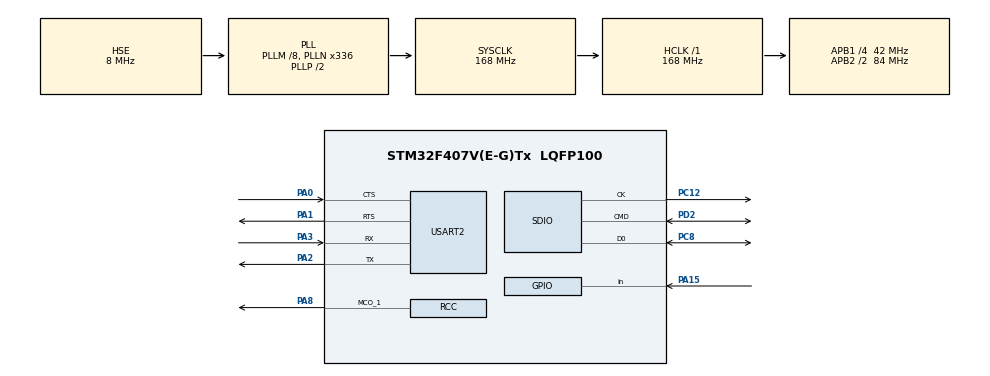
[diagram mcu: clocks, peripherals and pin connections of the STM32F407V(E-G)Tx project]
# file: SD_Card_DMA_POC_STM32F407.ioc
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Dma.Request0=SDIO
Dma.SDIO.0.Direction=DMA_PERIPH_TO_MEMORY
Dma.SDIO.0.FIFOMode=DMA_FIFOMODE_ENABLE
Dma.SDIO.0.FIFOThreshold=DMA_FIFO_THRESHOLD_FULL
Dma.SDIO.0.Instance=DMA2_Stream3
Dma.SDIO.0.MemBurst=DMA_MBURST_INC4
Dma.SDIO.0.MemDataAlignment=DMA_MDATAALIGN_WORD
Dma.SDIO.0.MemInc=DMA_MINC_ENABLE
Dma.SDIO.0.Mode=DMA_PFCTRL
Dma.SDIO.0.PeriphBurst=DMA_PBURST_INC4
Dma.SDIO.0.PeriphDataAlignment=DMA_PDATAALIGN_WORD
Dma.SDIO.0.PeriphInc=DMA_PINC_DISABLE
Dma.SDIO.0.Priority=DMA_PRIORITY_LOW
FATFS.BSP.number=1
FATFS.USE_DMA_CODE_SD=1
FATFS._FS_EXFAT=1
FATFS._FS_LOCK=6
FATFS._MAX_SS=512
FATFS._MIN_SS=512
FATFS._USE_CHMOD=1
FATFS._USE_EXPAND=1
FATFS._USE_FIND=1
FATFS._USE_FORWARD=1
FATFS._USE_LABEL=1
FATFS._USE_LFN=3
FATFS0.BSP.STBoard=false
FATFS0.BSP.api=Unknown
FATFS0.BSP.instance=PA15
FATFS0.BSP.ip=GPIO
FATFS0.BSP.mode=Input
FATFS0.BSP.name=Detect_SDIO
FATFS0.BSP.solution=PA15
Mcu.Family=STM32F4
Mcu.Name=STM32F407V(E-G)Tx
Mcu.Package=LQFP100
NVIC.DMA2_Stream3_IRQn=true\:0\:0\:false\:false\:true\:false\:true\:true
NVIC.HASH_RNG_IRQn=true\:0\:0\:false\:false\:true\:true\:true\:true
NVIC.PriorityGroup=NVIC_PRIORITYGROUP_0
NVIC.SDIO_IRQn=true\:0\:0\:false\:false\:true\:true\:true\:true
PA0-WKUP.Mode=CTS_RTS
PA0-WKUP.Signal=USART2_CTS
PA1.Mode=CTS_RTS
PA1.Signal=USART2_RTS
PA15.GPIO_PuPd=GPIO_PULLDOWN
PA15.Signal=GPIO_Input
PA2.Mode=Asynchronous
PA2.Signal=USART2_TX
PA3.Mode=Asynchronous
PA3.Signal=USART2_RX
PA8.Mode=Clock-out-1
PA8.Signal=RCC_MCO_1
PC12.Mode=SD_1_bit
PC12.Signal=SDIO_CK
PC8.GPIO_PuPd=GPIO_NOPULL
PC8.Mode=SD_1_bit
PC8.Signal=SDIO_D0
PD2.GPIO_PuPd=GPIO_NOPULL
PD2.Mode=SD_1_bit
PD2.Signal=SDIO_CMD
PH0-OSC_IN.Mode=HSE-External-Oscillator
PH0-OSC_IN.Signal=RCC_OSC_IN
PH1-OSC_OUT.Mode=HSE-External-Oscillator
PH1-OSC_OUT.Signal=RCC_OSC_OUT
ProjectManager.HeapSize=0x200
ProjectManager.StackSize=0x400
ProjectManager.TargetToolchain=STM32CubeIDE
RCC.48MHZClocksFreq_Value=48000000
RCC.AHBFreq_Value=168000000
RCC.APB1CLKDivider=RCC_HCLK_DIV4
RCC.APB1Freq_Value=42000000
RCC.APB1TimFreq_Value=84000000
RCC.APB2CLKDivider=RCC_HCLK_DIV2
RCC.APB2Freq_Value=84000000
RCC.APB2TimFreq_Value=168000000
RCC.CortexFreq_Value=168000000
RCC.HCLKFreq_Value=168000000
RCC.HSE_VALUE=8000000
RCC.HSI_VALUE=16000000
RCC.LSE_VALUE=32768
RCC.PLLM=8
RCC.PLLN=336
RCC.PLLQ=7
RCC.PLLSourceVirtual=RCC_PLLSOURCE_HSE
RCC.SYSCLKFreq_VALUE=168000000
RCC.SYSCLKSource=RCC_SYSCLKSOURCE_PLLCLK
RCC.VCOOutputFreq_Value=336000000
SDIO.ClockBypass=SDIO_CLOCK_BYPASS_DISABLE
SDIO.ClockDiv=0
SDIO.HardwareFlowControl=SDIO_HARDWARE_FLOW_CONTROL_DISABLE
USART2.VirtualMode=VM_ASYNC
VP_CRC_VS_CRC.Mode=CRC_Activate
VP_FATFS_VS_SDIO.Mode=SDIO
VP_RNG_VS_RNG.Mode=RNG_Activate
board=STM32F407G-DISC1

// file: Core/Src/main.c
/* USER CODE BEGIN Header */
/**
  ******************************************************************************
  * @file           : main.c
  * @brief          : Main program body
  ******************************************************************************
  * @attention
  *
  * Copyright (c) 2025 STMicroelectronics.
  * All rights reserved.
  *
  * This software is licensed under terms that can be found in the LICENSE file
  * in the root directory of this software component.
  * If no LICENSE file comes with this software, it is provided AS-IS.
  *
  ******************************************************************************
  */
/* USER CODE END Header */
#include "main.h"
#include "fatfs.h"

/* USER CODE BEGIN Includes */
#include <stdio.h>
#include "sd_functions.h"
#include "sd_benchmark.h"
/* USER CODE END Includes */

CRC_HandleTypeDef hcrc;

RNG_HandleTypeDef hrng;

SD_HandleTypeDef hsd;
DMA_HandleTypeDef hdma_sdio;

UART_HandleTypeDef huart2;

void SystemClock_Config(void);
static void MX_GPIO_Init(void);
static void MX_DMA_Init(void);
static void MX_CRC_Init(void);
static void MX_RNG_Init(void);
static void MX_SDIO_SD_Init(void);
static void MX_USART2_UART_Init(void);
/* USER CODE BEGIN PFP */

/*
 *	Function that print data via UART
 */
int _write(int fd, unsigned char *buf, int len) {
  if (fd == 1 || fd == 2) {
    HAL_UART_Transmit(&huart2, buf, len, 999);  // Print to the UART
  }
  return len;
}

/* USER CODE END PFP */

int main(void)
{

  /* MCU Configuration--------------------------------------------------------*/

  /* Reset of all peripherals, Initializes the Flash interface and the Systick. */
  HAL_Init();

  /* Configure the system clock */
  SystemClock_Config();

  /* Initialize all configured peripherals */
  MX_GPIO_Init();
  MX_DMA_Init();
  MX_CRC_Init();
  MX_RNG_Init();
  MX_SDIO_SD_Init();
  MX_FATFS_Init();
  MX_USART2_UART_Init();
  /* USER CODE BEGIN 2 */

  /* !ONLY test speed for read / write. for some project use sd_function */
  sd_benchmark();

  /* USER CODE END 2 */

  /* Infinite loop */
  while (1)
  {

  }
}

void SystemClock_Config(void)
{
  RCC_OscInitTypeDef RCC_OscInitStruct = {0};
  RCC_ClkInitTypeDef RCC_ClkInitStruct = {0};

  /** Configure the main internal regulator output voltage
  */
  __HAL_RCC_PWR_CLK_ENABLE();
  __HAL_PWR_VOLTAGESCALING_CONFIG(PWR_REGULATOR_VOLTAGE_SCALE1);

  /** Initializes the RCC Oscillators according to the specified parameters
  * in the RCC_OscInitTypeDef structure.
  */
  RCC_OscInitStruct.OscillatorType = RCC_OSCILLATORTYPE_HSI|RCC_OSCILLATORTYPE_HSE;
  RCC_OscInitStruct.HSEState = RCC_HSE_ON;
  RCC_OscInitStruct.HSIState = RCC_HSI_ON;
  RCC_OscInitStruct.HSICalibrationValue = RCC_HSICALIBRATION_DEFAULT;
  RCC_OscInitStruct.PLL.PLLState = RCC_PLL_ON;
  RCC_OscInitStruct.PLL.PLLSource = RCC_PLLSOURCE_HSE;
  RCC_OscInitStruct.PLL.PLLM = 8;
  RCC_OscInitStruct.PLL.PLLN = 336;
  RCC_OscInitStruct.PLL.PLLP = RCC_PLLP_DIV2;
  RCC_OscInitStruct.PLL.PLLQ = 7;
  if (HAL_RCC_OscConfig(&RCC_OscInitStruct) != HAL_OK)
  {
    Error_Handler();
  }

  /** Initializes the CPU, AHB and APB buses clocks
  */
  RCC_ClkInitStruct.ClockType = RCC_CLOCKTYPE_HCLK|RCC_CLOCKTYPE_SYSCLK
                              |RCC_CLOCKTYPE_PCLK1|RCC_CLOCKTYPE_PCLK2;
  RCC_ClkInitStruct.SYSCLKSource = RCC_SYSCLKSOURCE_PLLCLK;
  RCC_ClkInitStruct.AHBCLKDivider = RCC_SYSCLK_DIV1;
  RCC_ClkInitStruct.APB1CLKDivider = RCC_HCLK_DIV4;
  RCC_ClkInitStruct.APB2CLKDivider = RCC_HCLK_DIV2;

  if (HAL_RCC_ClockConfig(&RCC_ClkInitStruct, FLASH_LATENCY_5) != HAL_OK)
  {
    Error_Handler();
  }
  HAL_RCC_MCOConfig(RCC_MCO1, RCC_MCO1SOURCE_HSI, RCC_MCODIV_1);
}

static void MX_CRC_Init(void)
{

  hcrc.Instance = CRC;
  if (HAL_CRC_Init(&hcrc) != HAL_OK)
  {
    Error_Handler();
  }

}

static void MX_RNG_Init(void)
{

  hrng.Instance = RNG;
  if (HAL_RNG_Init(&hrng) != HAL_OK)
  {
    Error_Handler();
  }

}

static void MX_SDIO_SD_Init(void)
{

  hsd.Instance = SDIO;
  hsd.Init.ClockEdge = SDIO_CLOCK_EDGE_RISING;
  hsd.Init.ClockBypass = SDIO_CLOCK_BYPASS_DISABLE;
  hsd.Init.ClockPowerSave = SDIO_CLOCK_POWER_SAVE_DISABLE;
  hsd.Init.BusWide = SDIO_BUS_WIDE_1B;
  hsd.Init.HardwareFlowControl = SDIO_HARDWARE_FLOW_CONTROL_DISABLE;
  hsd.Init.ClockDiv = 0;
  /* USER CODE BEGIN SDIO_Init 2 */

  /* 1) Initialize SD peripheral (this performs card init in 1-bit) */

  if (HAL_SD_Init(&hsd) != HAL_OK)
  {
      printf("HAL_SD_Init failed!\r\n");
      Error_Handler();
  }

  printf("HAL_SD_Init OK\n");

  // switch to 4-bit AFTER init
  if (HAL_SD_ConfigWideBusOperation(&hsd, SDIO_BUS_WIDE_4B) == HAL_OK)
  {
	  printf("4-bit mode enabled\n");
  }
  else
  {
	  printf("Failed to switch to 4-bit mode\n");
  }

  /* USER CODE END SDIO_Init 2 */

}

static void MX_USART2_UART_Init(void)
{

  huart2.Instance = USART2;
  huart2.Init.BaudRate = 115200;
  huart2.Init.WordLength = UART_WORDLENGTH_8B;
  huart2.Init.StopBits = UART_STOPBITS_1;
  huart2.Init.Parity = UART_PARITY_NONE;
  huart2.Init.Mode = UART_MODE_TX_RX;
  huart2.Init.HwFlowCtl = UART_HWCONTROL_RTS_CTS;
  huart2.Init.OverSampling = UART_OVERSAMPLING_16;
  if (HAL_UART_Init(&huart2) != HAL_OK)
  {
    Error_Handler();
  }

}

static void MX_DMA_Init(void)
{

  /* DMA controller clock enable */
  __HAL_RCC_DMA2_CLK_ENABLE();

  /* DMA interrupt init */
  /* DMA2_Stream3_IRQn interrupt configuration */
  HAL_NVIC_SetPriority(DMA2_Stream3_IRQn, 0, 0);
  HAL_NVIC_EnableIRQ(DMA2_Stream3_IRQn);

}

static void MX_GPIO_Init(void)
{
  GPIO_InitTypeDef GPIO_InitStruct = {0};

  /* GPIO Ports Clock Enable */
  __HAL_RCC_GPIOH_CLK_ENABLE();
  __HAL_RCC_GPIOA_CLK_ENABLE();
  __HAL_RCC_GPIOC_CLK_ENABLE();
  __HAL_RCC_GPIOD_CLK_ENABLE();

  /*Configure GPIO pin : PA8 */
  GPIO_InitStruct.Pin = GPIO_PIN_8;
  GPIO_InitStruct.Mode = GPIO_MODE_AF_PP;
  GPIO_InitStruct.Pull = GPIO_NOPULL;
  GPIO_InitStruct.Speed = GPIO_SPEED_FREQ_LOW;
  GPIO_InitStruct.Alternate = GPIO_AF0_MCO;
  HAL_GPIO_Init(GPIOA, &GPIO_InitStruct);

  /*Configure GPIO pin : PA15 */
  GPIO_InitStruct.Pin = GPIO_PIN_15;
  GPIO_InitStruct.Mode = GPIO_MODE_INPUT;
  GPIO_InitStruct.Pull = GPIO_PULLDOWN;
  HAL_GPIO_Init(GPIOA, &GPIO_InitStruct);

/* USER CODE BEGIN MX_GPIO_Init_2 */

  /* SDIO GPIO Configuration */

  /* D0-D3 */
  GPIO_InitStruct.Pin = GPIO_PIN_8 | GPIO_PIN_9 | GPIO_PIN_10 | GPIO_PIN_11;
  GPIO_InitStruct.Mode = GPIO_MODE_AF_PP;
  GPIO_InitStruct.Pull = GPIO_NOPULL;
  GPIO_InitStruct.Speed = GPIO_SPEED_FREQ_VERY_HIGH;
  GPIO_InitStruct.Alternate = GPIO_AF12_SDIO;
  HAL_GPIO_Init(GPIOC, &GPIO_InitStruct);

  /* CMD (PD2) */
  GPIO_InitStruct.Pin = GPIO_PIN_2;
  GPIO_InitStruct.Mode = GPIO_MODE_AF_PP;
  GPIO_InitStruct.Pull = GPIO_NOPULL;
  GPIO_InitStruct.Speed = GPIO_SPEED_FREQ_VERY_HIGH;
  GPIO_InitStruct.Alternate = GPIO_AF12_SDIO;
  HAL_GPIO_Init(GPIOD, &GPIO_InitStruct);

  /* CLK (PC12) */
  GPIO_InitStruct.Pin = GPIO_PIN_12;
  GPIO_InitStruct.Mode = GPIO_MODE_AF_PP;
  GPIO_InitStruct.Pull = GPIO_NOPULL;
  GPIO_InitStruct.Speed = GPIO_SPEED_FREQ_VERY_HIGH;
  GPIO_InitStruct.Alternate = GPIO_AF12_SDIO;
  HAL_GPIO_Init(GPIOC, &GPIO_InitStruct);

/* USER CODE END MX_GPIO_Init_2 */
}

void Error_Handler(void)
{
  __disable_irq();
  while (1)
  {
  }
}
